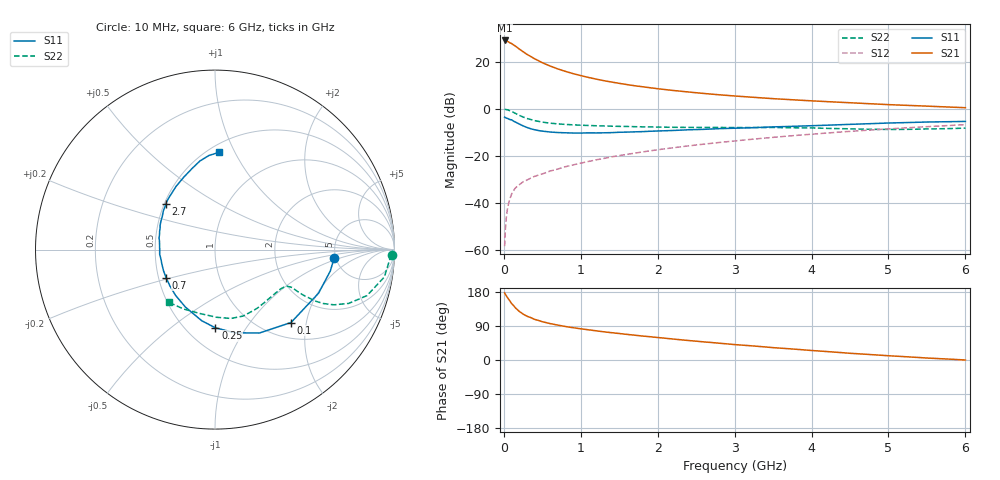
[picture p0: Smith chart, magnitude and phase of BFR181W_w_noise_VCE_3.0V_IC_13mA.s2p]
! Infineon Technologies  Discrete & RF Semiconductors
! BFR181W
! VCE =  3.0 V,  IC =  13 mA
! Common Emitter S-Parameters:  Jan 2017
# GHz  S  MA  R  50
!  f  S11  S21  S12  S22
! GHz  MAG  ANG  MAG  ANG  MAG  ANG  MAG  ANG
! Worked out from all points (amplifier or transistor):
!   77 points, 10 MHz to 6 GHz, reference 50 ohm
!   highest |S21| = 29.1 dB at 10 MHz (marker M1)
!   |S21| within 3 dB of that: start of sweep to 174.2 MHz
!   unconditionally stable (mu >= 1): 784.4 MHz to 2.723 GHz
!   at 130 MHz: K = 0.35, MSG = 30.9 dB, |S12| = -34.6 dB
!   at 2.2 GHz: K = 1.05, MAG = 10.8 dB, |S12| = -16.5 dB
!   at 6 GHz: K = 0.83, MSG = 3.6 dB, |S12| = -6.7 dB
!   lowest NFmin = 1.39 dB at 450 MHz
!   S11 on the Smith chart (normalised r, x): 10 MHz: 4.86, -0.77; 100 MHz: 1.32, -1.63; 250 MHz: 0.68, -0.74; 700 MHz: 0.55, -0.19; 2.7 GHz: 0.51, +0.30; 6 GHz: 0.56, +0.86
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0.01  0.6662 -3.8  28.59 177.3  0.0012 90.2  0.9838 -1.7
0.02  0.6534 -10.5  28.26 173.2  0.0027 86.5  0.9744 -3.4
0.05  0.6262 -22.8  27.25 163.8  0.008 77.9  0.9561 -9.2
0.1  0.5869 -43.8  24.62 149.2  0.0153 71.9  0.8839 -16.9
0.15  0.5263 -62.0  21.67 137.7  0.0208 66.4  0.8034 -21.9
0.2  0.4768 -76.5  18.81 128.4  0.0243 65.4  0.7307 -24.9
0.25  0.4357 -89.7  16.49 121.2  0.0281 61.7  0.6729 -26.5
0.3  0.4034 -100.5  14.5 115.6  0.0306 61.5  0.6254 -27.2
0.4  0.3603 -117.2  11.64 107.2  0.0368 61.7  0.5629 -27.3
0.5  0.3367 -130.7  9.609 101.1  0.0413 63.0  0.5234 -27.0
0.6  0.3225 -141.2  8.187 96.2  0.0475 64.3  0.4976 -26.6
0.7  0.3142 -150.3  7.106 92.1  0.0524 65.8  0.4797 -26.2
0.9  0.3068 -164.6  5.627 85.2  0.0643 67.6  0.4579 -26.7
1.1  0.3094 -175.2  4.671 79.7  0.0761 69.4  0.4438 -27.6
1.3  0.3098 175.4  3.988 74.4  0.0883 69.8  0.4334 -29.4
1.5  0.3182 168.3  3.494 69.9  0.1014 70.4  0.4248 -31.4
2.1  0.3427 150.4  2.576 57.4  0.1419 69.5  0.4083 -40.6
2.7  0.3734 137.0  2.062 46.1  0.1853 67.2  0.4023 -52.0
3.1  0.3926 128.9  1.833 39.2  0.2157 64.9  0.4005 -59.6
4.1  0.4443 111.9  1.456 23.7  0.2978 57.8  0.3893 -79.2
5.1  0.5052 98.4  1.214 10.1  0.3837 48.8  0.3656 -106.0
6  0.5414 87.8  1.06 0.0  0.4619 39.5  0.3901 -131.3
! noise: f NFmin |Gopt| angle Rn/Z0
0.45  1.39  0.08  17  0.21
0.9  1.43  0.08  31  0.21
1.9  1.86  0.09  -144  0.21
2.4  2.07  0.11  -109  0.26
